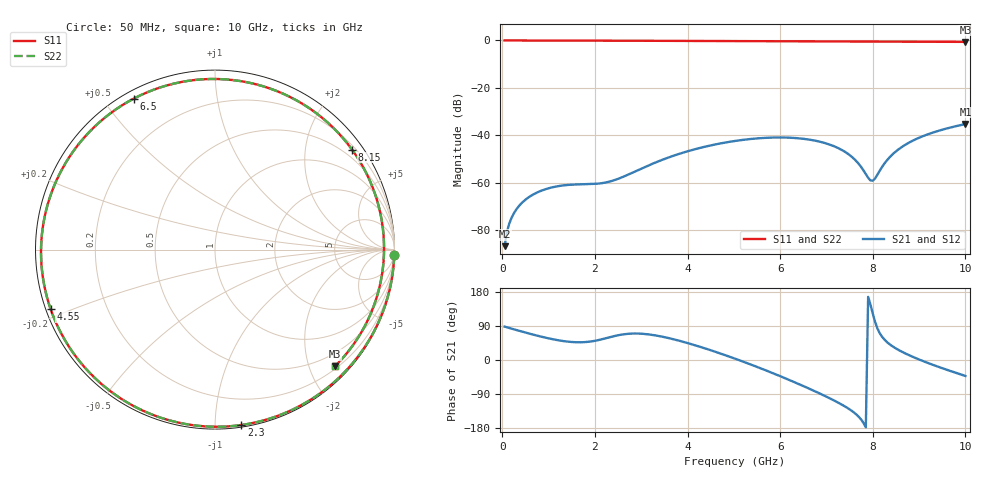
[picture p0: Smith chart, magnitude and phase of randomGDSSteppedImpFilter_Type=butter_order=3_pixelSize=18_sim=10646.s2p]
! freq	dB(S11)	phase(S11)	dB(S12)	phase(S12)
!  dB(S21)	phase(S21)	dB(S22)	phase(S22)
!S-par simulation data
#  GHz  S  DB  R 50
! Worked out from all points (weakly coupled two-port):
!   200 points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, 50 MHz to 10 GHz, reference 50 ohm
!   highest |S21| = -35.21 dB at 10 GHz (marker M1); lowest = -86.6 dB at 50 MHz (marker M2)
!   lowest |S11| = -0.6 dB at 10 GHz (marker M3), VSWR 28.46, Z = 12.3 - j122 ohm
!   |S11| at or under -10 dB: nowhere
!   |S22| runs from -0.6 to 0.0 dB; largest |S21 - S12| = 0
!   S11 on the Smith chart (normalised r, x): 50 MHz: 1, -62; 2.3 GHz: 0.01, -1.16; 4.55 GHz: 0.01, -0.17; 6.5 GHz: 0.03, +0.60; 8.15 GHz: 0.29, +3.04; 10 GHz: 0.25, -2.44
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0.05  -0.01 -1.8  -86.64 88.1  -86.64 88.1  -0.01 -1.8
0.1  -0.01 -3.7  -80.64 86.3  -80.64 86.3  -0.01 -3.7
0.2  -0.01 -7.3  -74.69 82.8  -74.69 82.8  -0.01 -7.3
0.35  -0.02 -12.7  -69.96 77.5  -69.96 77.5  -0.02 -12.7
0.65  -0.03 -23.5  -65.06 67.5  -65.06 67.5  -0.03 -23.5
1.1  -0.05 -39.6  -61.76 54.5  -61.76 54.5  -0.05 -39.6
1.75  -0.08 -62.4  -60.58 47.0  -60.58 47.0  -0.08 -62.4
2.3  -0.10 -81.5  -59.53 59.4  -59.53 59.4  -0.10 -81.5
3.4  -0.16 -119.3  -50.67 62.9  -50.67 62.9  -0.16 -119.3
4.55  -0.23 -160.2  -43.99 23.8  -43.99 23.8  -0.23 -160.3
5.05  -0.27 -179.2  -42.25 2.4  -42.25 2.4  -0.27 -179.3
5.75  -0.33 152.2  -40.95 -30.2  -40.95 -30.2  -0.33 152.1
6.5  -0.40 118.4  -41.41 -68.7  -41.41 -68.7  -0.40 118.3
6.7  -0.41 108.8  -42.00 -79.7  -42.00 -79.7  -0.41 108.7
7.45  -0.46 71.4  -47.55 -126.3  -47.55 -126.3  -0.46 71.4
7.95  -0.48 46.1  -58.94 146.0  -58.94 146.0  -0.48 46.1
8.05  -0.49 41.1  -58.10 100.4  -58.10 100.4  -0.48 41.1
8.15  -0.49 36.1  -54.87 70.8  -54.87 70.8  -0.49 36.1
8.35  -0.50 26.3  -49.50 42.9  -49.50 42.9  -0.50 26.3
8.65  -0.51 12.0  -44.57 20.5  -44.57 20.5  -0.51 12.0
9.1  -0.53 -8.3  -40.18 -3.5  -40.18 -3.5  -0.53 -8.4
10  -0.61 -44.3  -35.21 -42.0  -35.21 -42.0  -0.61 -44.3
